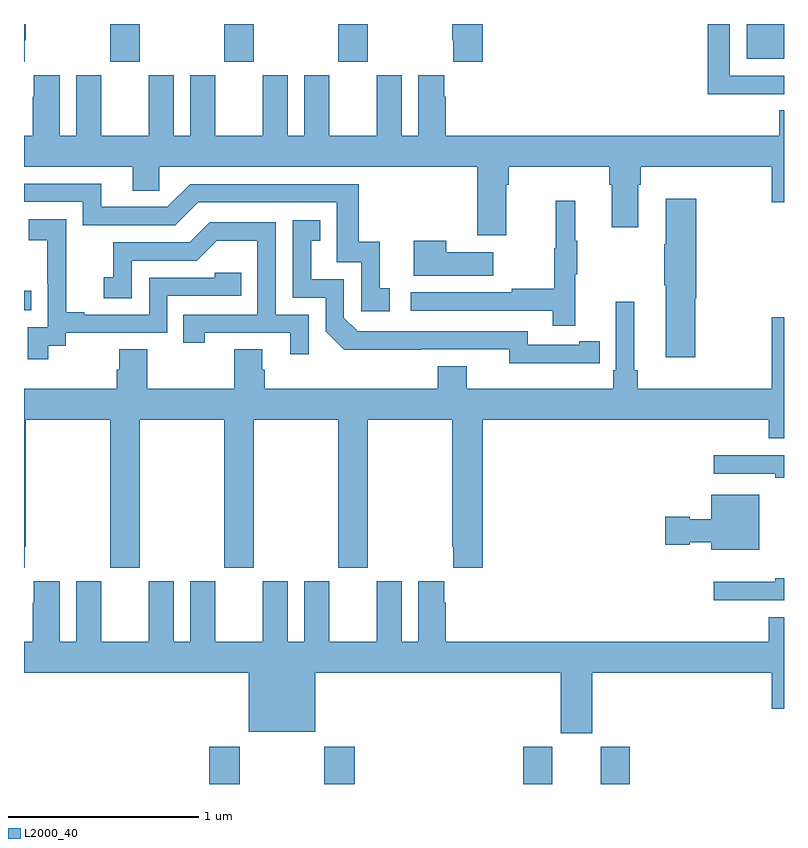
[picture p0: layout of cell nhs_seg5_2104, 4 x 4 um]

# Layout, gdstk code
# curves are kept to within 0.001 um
import gdstk
lib = gdstk.Library(unit=1e-6, precision=1e-09)
def R(c, l, rs):  # rectangles x0, y0, x1, y1
    for r in rs: c.add(gdstk.rectangle(r[:2], r[2:], *l))
def A(c, l, x, y, w, h, nx, ny, dx, dy):  # array of equal rectangles
    R(c, l, [(x+i*dx, y+j*dy, x+i*dx+w, y+j*dy+h) for i in range(nx) for j in range(ny)])
def P(c, l, *ps):  # polygons
    for p in ps: c.add(gdstk.Polygon(p, *l))
L2000_40 = (2000, 40)

nhs_seg5_2104 = lib.new_cell('nhs_seg5_2104')
A(nhs_seg5_2104, L2000_40, 233.455, 902.601, 0.155, 0.198, 3, 1, 0.6, 0)
R(nhs_seg5_2104, L2000_40, [(233.975,898.799,234.135,898.996), (234.58,898.799,234.74,898.996), (235.628,898.799,235.78,898.995), (236.036,898.799,236.189,898.995), (233,901.293,233.039,901.394), (236.804,902.615,237,902.799)])
P(nhs_seg5_2104, L2000_40, [(236.891,902.43),(237,902.43),(237,902.526),(236.715,902.526),(236.715,902.799),(236.599,902.799),(236.599,902.429),(236.891,902.429)],
  [(233.005,902.713),(233.01,902.713),(233.01,902.799),(233,902.799),(233,902.601),(233.005,902.601)],
  [(235.415,902.799),(235.255,902.799),(235.255,902.713),(235.259,902.713),(235.259,902.601),(235.415,902.601)],
  [(235.537,901.952),(235.55,901.952),(235.55,902.048),(236.081,902.048),(236.081,901.952),(236.093,901.952),(236.093,901.728),(236.233,901.728),(236.233,901.952),(236.246,901.952),(236.246,902.048),(236.936,902.048),(236.936,901.86),(237,901.86),(237,902.345),(236.975,902.345),(236.975,902.212),(235.22,902.212),(235.22,902.417),(235.213,902.417),(235.213,902.53),(235.076,902.53),(235.076,902.212),(234.988,902.212),(234.988,902.53),(234.857,902.53),(234.857,902.212),(234.607,902.212),(234.607,902.53),(234.476,902.53),(234.476,902.212),(234.388,902.212),(234.388,902.53),(234.257,902.53),(234.257,902.212),(234.007,902.212),(234.007,902.53),(233.876,902.53),(233.876,902.212),(233.788,902.212),(233.788,902.53),(233.657,902.53),(233.657,902.212),(233.407,902.212),(233.407,902.53),(233.276,902.53),(233.276,902.212),(233.188,902.212),(233.188,902.53),(233.051,902.53),(233.051,902.417),(233.045,902.417),(233.045,902.212),(233,902.212),(233,902.048),(233.573,902.048),(233.573,901.921),(233.712,901.921),(233.712,902.048),(235.385,902.048),(235.385,901.686),(235.537,901.686)],
  [(234.925,901.407),(234.872,901.407),(234.872,901.654),(234.761,901.654),(234.761,901.956),(233.874,901.956),(233.754,901.836),(233.407,901.836),(233.407,901.959),(233,901.959),(233,901.863),(233.31,901.863),(233.31,901.74),(233.796,901.74),(233.916,901.86),(234.645,901.86),(234.645,901.545),(234.774,901.545),(234.774,901.287),(234.925,901.287)],
  [(236.532,901.356),(236.537,901.356),(236.537,901.879),(236.378,901.879),(236.378,901.64),(236.371,901.64),(236.371,901.423),(236.378,901.423),(236.378,901.044),(236.532,901.044)],
  [(235.901,901.483),(235.912,901.483),(235.912,901.657),(235.901,901.657),(235.901,901.87),(235.798,901.87),(235.798,901.62),(235.791,901.62),(235.791,901.406),(235.567,901.406),(235.567,901.386),(235.035,901.386),(235.035,901.29),(235.783,901.29),(235.783,901.212),(235.901,901.212)],
  [(233.128,901.105),(233.22,901.105),(233.22,901.173),(233.754,901.173),(233.754,901.368),(234.143,901.368),(234.143,901.491),(234.003,901.491),(234.003,901.464),(233.658,901.464),(233.658,901.269),(233.317,901.269),(233.317,901.282),(233.222,901.282),(233.222,901.565),(233.223,901.565),(233.223,901.771),(233.025,901.771),(233.025,901.661),(233.123,901.661),(233.123,901.433),(233.124,901.433),(233.124,901.203),(233.019,901.203),(233.019,901.035),(233.128,901.035)],
  [(235.922,901.014),(236.03,901.014),(236.03,901.13),(235.922,901.13),(235.922,901.11),(235.65,901.11),(235.65,901.182),(234.756,901.182),(234.684,901.254),(234.684,901.455),(234.511,901.455),(234.511,901.659),(234.56,901.659),(234.56,901.765),(234.414,901.765),(234.414,901.359),(234.588,901.359),(234.588,901.182),(234.686,901.085),(235.554,901.086),(235.554,901.013)],
  [(234.498,901.269),(234.324,901.269),(234.324,901.755),(233.978,901.755),(233.873,901.65),(233.47,901.65),(233.47,901.465),(233.421,901.465),(233.421,901.356),(233.568,901.356),(233.568,901.554),(233.91,901.554),(234.014,901.658),(234.228,901.658),(234.228,901.269),(233.839,901.269),(233.839,901.122),(233.95,901.122),(233.95,901.173),(234.401,901.173),(234.401,901.062),(234.498,901.062)],
  [(235.471,901.597),(235.223,901.597),(235.223,901.657),(235.052,901.657),(235.052,901.475),(235.471,901.475)],
  [(235.33,900.997),(235.178,900.997),(235.178,900.88),(234.266,900.88),(234.266,900.978),(234.253,900.978),(234.253,901.088),(234.106,901.088),(234.106,900.88),(233.649,900.88),(233.649,901.088),(233.501,901.088),(233.501,900.978),(233.489,900.978),(233.489,900.88),(233,900.88),(233,899.937),(233.005,899.937),(233.005,900.049),(233.01,900.049),(233.01,900.716),(233.455,900.716),(233.455,899.937),(233.61,899.937),(233.61,900.716),(234.055,900.716),(234.055,899.937),(234.21,899.937),(234.21,900.716),(234.655,900.716),(234.655,899.937),(234.81,899.937),(234.81,900.716),(235.255,900.716),(235.255,900.049),(235.259,900.049),(235.259,899.937),(235.415,899.937),(235.415,900.716),(236.921,900.716),(236.921,900.618),(237,900.618),(237,901.255),(236.936,901.255),(236.936,900.88),(236.231,900.88),(236.231,900.976),(236.212,900.976),(236.212,901.336),(236.115,901.336),(236.115,900.976),(236.102,900.976),(236.102,900.88),(235.33,900.88)],
  [(237,900.53),(236.631,900.53),(236.631,900.432),(236.954,900.432),(236.954,900.41),(237,900.41)],
  [(236.869,900.322),(236.618,900.322),(236.618,900.193),(236.505,900.193),(236.505,900.206),(236.376,900.206),(236.376,900.059),(236.505,900.059),(236.505,900.071),(236.618,900.071),(236.618,900.032),(236.869,900.032)],
  [(237,899.882),(236.954,899.882),(236.954,899.863),(236.631,899.863),(236.631,899.766),(237,899.766)],
  [(234.182,899.075),(234.532,899.075),(234.532,899.384),(235.826,899.384),(235.826,899.067),(235.99,899.067),(235.99,899.384),(236.936,899.384),(236.936,899.196),(237,899.196),(237,899.677),(236.921,899.677),(236.921,899.548),(235.22,899.548),(235.22,899.753),(235.213,899.753),(235.213,899.866),(235.076,899.866),(235.076,899.548),(234.988,899.548),(234.988,899.866),(234.857,899.866),(234.857,899.548),(234.607,899.548),(234.607,899.866),(234.476,899.866),(234.476,899.548),(234.388,899.548),(234.388,899.866),(234.257,899.866),(234.257,899.548),(234.007,899.548),(234.007,899.866),(233.876,899.866),(233.876,899.548),(233.788,899.548),(233.788,899.866),(233.657,899.866),(233.657,899.548),(233.407,899.548),(233.407,899.866),(233.276,899.866),(233.276,899.548),(233.188,899.548),(233.188,899.866),(233.051,899.866),(233.051,899.753),(233.045,899.753),(233.045,899.548),(233,899.548),(233,899.384),(234.182,899.384)])

lib.write_gds('nhs_seg5_2104.gds')
